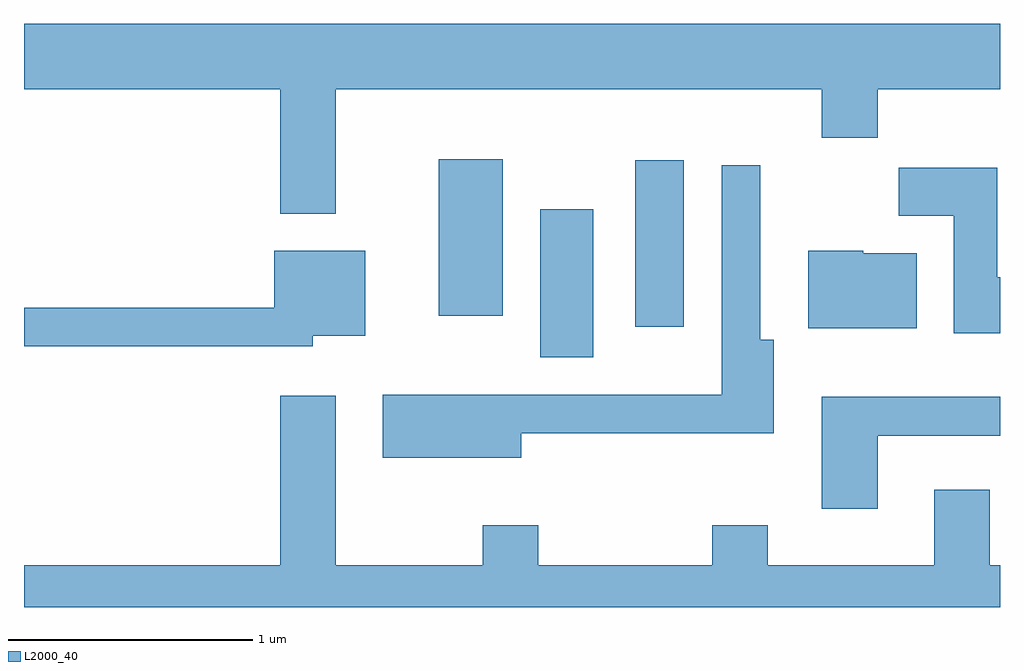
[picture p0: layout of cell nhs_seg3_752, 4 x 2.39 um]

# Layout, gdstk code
import gdstk
lib = gdstk.Library(unit=1e-6, precision=1e-09)
def R(c, l, rs):  # rectangles x0, y0, x1, y1
    for r in rs: c.add(gdstk.rectangle(r[:2], r[2:], *l))
def P(c, l, *ps):  # polygons
    for p in ps: c.add(gdstk.Polygon(p, *l))
L2000_40 = (2000, 40)

nhs_seg3_752 = lib.new_cell('nhs_seg3_752')
R(nhs_seg3_752, L2000_40, [(209.726,1124.916,209.944,1125.524), (210.116,1125.041,210.314,1125.724), (209.311,1125.086,209.574,1125.729)])
P(nhs_seg3_752, L2000_40, [(208.889,1126.016),(210.881,1126.016),(210.881,1125.816),(211.109,1125.816),(211.109,1126.016),(211.611,1126.016),(211.611,1126.284),(207.611,1126.284),(207.611,1126.016),(208.661,1126.016),(208.661,1125.506),(208.889,1125.506)],
  [(209.649,1124.606),(210.684,1124.606),(210.684,1124.989),(210.629,1124.989),(210.629,1125.703),(210.471,1125.703),(210.471,1124.764),(209.081,1124.764),(209.081,1124.506),(209.649,1124.506)],
  [(211.611,1125.244),(211.599,1125.244),(211.599,1125.694),(211.196,1125.694),(211.196,1125.496),(211.421,1125.496),(211.421,1125.016),(211.611,1125.016)],
  [(211.269,1125.344),(211.05,1125.344),(211.05,1125.354),(210.826,1125.354),(210.826,1125.036),(211.269,1125.036)],
  [(208.794,1125.006),(209.009,1125.006),(209.009,1125.354),(208.636,1125.354),(208.636,1125.119),(207.611,1125.119),(207.611,1124.961),(208.794,1124.961)],
  [(211.611,1124.064),(211.569,1124.064),(211.569,1124.374),(211.341,1124.374),(211.341,1124.064),(210.659,1124.064),(210.659,1124.229),(210.431,1124.229),(210.431,1124.064),(209.719,1124.064),(209.719,1124.229),(209.491,1124.229),(209.491,1124.064),(208.889,1124.064),(208.889,1124.759),(208.661,1124.759),(208.661,1124.064),(207.611,1124.064),(207.611,1123.892),(211.611,1123.892)],
  [(211.109,1124.596),(211.611,1124.596),(211.611,1124.754),(210.881,1124.754),(210.881,1124.296),(211.109,1124.296)])

lib.write_gds('nhs_seg3_752.gds')
